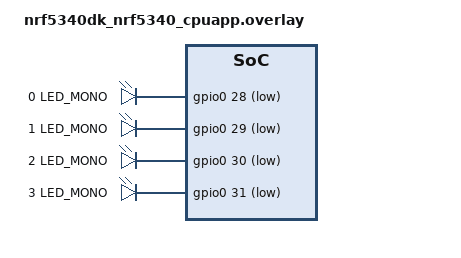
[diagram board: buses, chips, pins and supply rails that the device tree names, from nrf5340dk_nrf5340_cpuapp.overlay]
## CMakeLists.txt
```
# SPDX-License-Identifier: Apache-2.0

cmake_minimum_required(VERSION 3.20.0)
find_package(Zephyr REQUIRED HINTS $ENV{ZEPHYR_BASE})
project(peripheral)

target_sources(app PRIVATE
  src/main.c
  src/led.c
)

list(APPEND CMAKE_MODULE_PATH ${ZEPHYR_BASE}/modules/nanopb)
include(nanopb)

zephyr_nanopb_sources(app 
  proto/led/led.proto
)
```

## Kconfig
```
rsource "Kconfig.defaults"
rsource "src/Kconfig"

source "Kconfig.zephyr"
```

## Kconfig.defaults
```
config REBOOT
	default y

config MAIN_THREAD_PRIORITY
	default 10

config MAIN_STACK_SIZE
	default 1800 if SD_CARD_PLAYBACK
	default 1600

config SYSTEM_WORKQUEUE_STACK_SIZE
	default 1200

# As long as thread names are used, config must be set to "y"
config THREAD_NAME
	default y

config NCS_INCLUDE_RPMSG_CHILD_IMAGE
	default !BT_LL_ACS_NRF53

# Workaround to not use fatal_error.c in NCS. Note that the system may still
# reset on error depending on the build configuraion
config RESET_ON_FATAL_ERROR
	default n

# Default Config for Debug and Release build
config BT
	default y

# config BOARD_ENABLE_DCDC_APP
# 	default y

# config BOARD_ENABLE_DCDC_NET
# 	default y

config BOARD_ENABLE_CPUNET
	default y

config ZBUS
	default y

config ZBUS_RUNTIME_OBSERVERS
	default y

config ZBUS_MSG_SUBSCRIBER
	default y

config SENSOR
	default y

config REGULATOR
	default y

config CONTIN_ARRAY
	default y

# config NRFX_I2S0
# 	default y

# config PCM_MIX
# 	default y

# config PSCM
# 	default y

# config DATA_FIFO
# 	default y

# config WATCHDOG
# 	default y

# config TASK_WDT
# 	default y
```

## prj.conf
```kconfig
# Increased stack due to settings API usage

# General
CONFIG_DEBUG=y
CONFIG_DEBUG_INFO=y
CONFIG_ASSERT=y
CONFIG_STACK_USAGE=y
CONFIG_THREAD_RUNTIME_STATS=y
CONFIG_STACK_SENTINEL=y
CONFIG_INIT_STACKS=y

# Uart driver
CONFIG_SERIAL=y

# Logging
CONFIG_LOG=y
CONFIG_NEWLIB_LIBC_FLOAT_PRINTF=y
CONFIG_LOG_TAG_MAX_LEN=2
CONFIG_LOG_TAG_DEFAULT="--"
CONFIG_LOG_BACKEND_UART=y

# Shell related defines
CONFIG_USE_SEGGER_RTT=y

# Console related defines
CONFIG_CONSOLE=y
CONFIG_RTT_CONSOLE=y
CONFIG_UART_CONSOLE=y

# Shell related defines
CONFIG_SHELL=y
CONFIG_KERNEL_SHELL=y
CONFIG_USE_SEGGER_RTT=y
## Disable logs on RTT
CONFIG_SHELL_RTT_INIT_LOG_LEVEL_NONE=y
CONFIG_SHELL_BACKEND_RTT=y
CONFIG_SHELL_BACKEND_SERIAL=n
CONFIG_SHELL_VT100_COMMANDS=y
CONFIG_SHELL_VT100_COLORS=y
CONFIG_SHELL_STACK_SIZE=4096
CONFIG_SHELL_CMD_BUFF_SIZE=128
## Reduce shell memory usage
CONFIG_SHELL_WILDCARD=n
CONFIG_SHELL_HELP_ON_WRONG_ARGUMENT_COUNT=n
CONFIG_SHELL_STATS=n
CONFIG_SHELL_CMDS=n
CONFIG_SHELL_HISTORY=y

# Turn off default shell commands
CONFIG_I2C_SHELL=n
CONFIG_HWINFO_SHELL=n
CONFIG_CLOCK_CONTROL_NRF_SHELL=n
CONFIG_FLASH_SHELL=n
CONFIG_DEVICE_SHELL=n

CONFIG_BT=y
CONFIG_BT_PERIPHERAL=y

CONFIG_BT_DEVICE_NAME="SMART LED DEMO"

CONFIG_NANOPB=y
```

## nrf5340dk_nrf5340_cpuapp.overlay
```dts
/ {
	leds: leds {
		compatible = "gpio-leds";
		led0: led_0 {
			gpios = <&gpio0 28 GPIO_ACTIVE_LOW>;
			label = "0 LED_MONO";
		};
		led1: led_1 {
			gpios = <&gpio0 29 GPIO_ACTIVE_LOW>;
			label = "1 LED_MONO";
		};
		led2: led_2 {
			gpios = <&gpio0 30 GPIO_ACTIVE_LOW>;
			label = "2 LED_MONO";
		};
		led3: led_3 {
			gpios = <&gpio0 31 GPIO_ACTIVE_LOW>;
			label = "3 LED_MONO";
		};
	};
};
```

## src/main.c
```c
#include <zephyr/bluetooth/bluetooth.h>
#include <zephyr/bluetooth/gatt.h>
#include <zephyr/bluetooth/uuid.h>
#include <zephyr/drivers/gpio.h>
#include <zephyr/logging/log.h>

#include "led.h"

LOG_MODULE_REGISTER(main, CONFIG_MAIN_LOG_LEVEL);

// Advertisement Data

static const struct bt_data ad[] = {
    BT_DATA_BYTES(BT_DATA_FLAGS, (BT_LE_AD_GENERAL | BT_LE_AD_NO_BREDR)),
    BT_DATA_BYTES(BT_DATA_UUID128_ALL, LED_SERVICE_UUID_VAL),
};

// GAP callbacks

static void connected(struct bt_conn *conn, uint8_t err) {
  if (err) {
    LOG_ERR("Connection failed (err 0x%02x)\n", err);
  } else {
    LOG_INF("Connected\n");
  }
}

static void disconnected(struct bt_conn *conn, uint8_t reason) {
  LOG_INF("Disconnected (reason 0x%02x)\n", reason);
}

BT_CONN_CB_DEFINE(conn_callbacks) = {
    .connected = connected,
    .disconnected = disconnected,
};

int main(void) {
  int err;

  LOG_INF("Starting LED application");

  // make sure the LED device is ready
	err = led_init();
  if (err) {
		LOG_ERR("LED init failed (err %d)\n", err);
		return err;
	}

  // initialize BLE
  err = bt_enable(NULL);
  if (err) {
    LOG_ERR("Bluetooth init failed (err %d)\n", err);
    return err;
  }
  LOG_INF("Bluetooth initialized\n");

  // start avertising
  err = bt_le_adv_start(BT_LE_ADV_CONN_NAME, ad, ARRAY_SIZE(ad), NULL, 0);
  if (err) {
    LOG_ERR("Advertising failed to start (err %d)\n", err);
    return err;
  }
  LOG_INF("Advertising successfully started\n");
	return 0;
}
```

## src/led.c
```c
#include <zephyr/kernel.h>
#include <zephyr/devicetree.h>
#include <zephyr/bluetooth/bluetooth.h>
#include <zephyr/bluetooth/gatt.h>
#include <zephyr/bluetooth/uuid.h>
#include <zephyr/drivers/gpio.h>
#include <string.h>
#include <stdlib.h>
#include <zephyr/device.h>

#include "led.h"
#include <pb_encode.h>
#include <pb_decode.h>
#include "proto/led/led.pb.h"

#include <zephyr/logging/log.h>
LOG_MODULE_REGISTER(led, CONFIG_MODULE_LED_LOG_LEVEL);

#define BLINK_FREQ_MS					1000
#define LED_UNIT_MAX					10
#define NUM_COLORS_RGB				3
#define BASE_10								10
#define DT_LABEL_AND_COMMA(node_id)	    DT_PROP(node_id, label),
#define GPIO_DT_SPEC_GET_AND_COMMA(node_id) GPIO_DT_SPEC_GET(node_id, gpios),

/* The following arrays are populated compile time from the .dts*/
static const char *const led_labels[] = {DT_FOREACH_CHILD(DT_PATH(leds), DT_LABEL_AND_COMMA)};

static const struct gpio_dt_spec leds[] = {DT_FOREACH_CHILD(DT_PATH(leds), GPIO_DT_SPEC_GET_AND_COMMA)};

enum led_type {
	LED_MONOCHROME,
	LED_COLOR,
};

struct user_config {
	LedStateType state;
	LedColorType color;
};

struct led_unit_cfg {
	uint8_t led_no;
	enum led_type unit_type;
	union {
		const struct gpio_dt_spec *mono;
		const struct gpio_dt_spec *color[NUM_COLORS_RGB];
	} type;
	struct user_config user_cfg;
};

static uint8_t leds_num;
static bool initialized;
static struct led_unit_cfg led_units[LED_UNIT_MAX];

// Service and Characteristics UUIDs
static struct bt_uuid_128 get_led_char_uuid = BT_UUID_INIT_128(
    BT_UUID_128_ENCODE(0x9c85a726, 0xb7f1, 0x11ec, 0xb909, 0x0242ac120002));
static struct bt_uuid_128 put_led_char_uuid = BT_UUID_INIT_128(
    BT_UUID_128_ENCODE(0x9c85a726, 0xb7f1, 0x11ec, 0xb909, 0x0242ac120003));

static struct bt_uuid_128 led_svc_uuid = BT_UUID_INIT_128(LED_SERVICE_UUID_VAL);

/**
 * @brief Configures fields for a RGB LED
 */
static int configure_led_color(uint8_t led_unit, uint8_t led_color, uint8_t led)
{
	if (!device_is_ready(leds[led].port)) {
		LOG_ERR("LED GPIO controller not ready");
		return -ENODEV;
	}

	led_units[led_unit].type.color[led_color] = &leds[led];
	led_units[led_unit].unit_type = LED_COLOR;

	return gpio_pin_configure_dt(led_units[led_unit].type.color[led_color],
				     GPIO_OUTPUT_INACTIVE);
}

/**
 * @brief Configures fields for a monochrome LED
 */
static int config_led_monochrome(uint8_t led_unit, uint8_t led)
{
	if (!device_is_ready(leds[led].port)) {
		LOG_ERR("LED GPIO controller not ready");
		return -ENODEV;
	}

	led_units[led_unit].type.mono = &leds[led];
	led_units[led_unit].unit_type = LED_MONOCHROME;

	return gpio_pin_configure_dt(led_units[led_unit].type.mono, GPIO_OUTPUT_INACTIVE);
}

/**
 * @brief Parses the device tree for LED settings.
 */
static int led_device_tree_parse(void)
{
	int ret;

	for (uint8_t i = 0; i < leds_num; i++) {
		char *end_ptr = NULL;
		uint32_t led_unit = strtoul(led_labels[i], &end_ptr, BASE_10);

		if (led_labels[i] == end_ptr) {
			LOG_ERR("No match for led unit. The dts is likely not properly formatted");
			return -ENXIO;
		}

		if (strstr(led_labels[i], "LED_RGB_RED")) {
			ret = configure_led_color(led_unit, RED, i);
			if (ret) {
				return ret;
			}

		} else if (strstr(led_labels[i], "LED_RGB_GREEN")) {
			ret = configure_led_color(led_unit, GREEN, i);
			if (ret) {
				return ret;
			}

		} else if (strstr(led_labels[i], "LED_RGB_BLUE")) {
			ret = configure_led_color(led_unit, BLUE, i);
			if (ret) {
				return ret;
			}

		} else if (strstr(led_labels[i], "LED_MONO")) {
			ret = config_led_monochrome(led_unit, i);
			if (ret) {
				return ret;
			}
		} else {
			LOG_ERR("No color identifier for LED %d LED unit %d", i, led_unit);
			return -ENODEV;
		}
	}
	return 0;
}

/**
 * @brief Internal handling to set the status of a led unit
 */
static int led_set_int(uint8_t led_unit, LedColorType color)
{
	int ret;

	if (led_units[led_unit].unit_type == LED_MONOCHROME) {
		if (color) {
			ret = gpio_pin_set_dt(led_units[led_unit].type.mono, 1);
			if (ret) {
				return ret;
			}
		} else {
			ret = gpio_pin_set_dt(led_units[led_unit].type.mono, 0);
			if (ret) {
				return ret;
			}
		}
	} else {
		for (uint8_t i = 0; i < NUM_COLORS_RGB; i++) {
			if (color & BIT(i)) {
				ret = gpio_pin_set_dt(led_units[led_unit].type.color[i], 1);
				if (ret) {
					return ret;
				}
			} else {
				ret = gpio_pin_set_dt(led_units[led_unit].type.color[i], 0);
				if (ret) {
					return ret;
				}
			}
		}
	}

	return 0;
}

static void led_blink_work_handler(struct k_work *work);

K_WORK_DEFINE(led_blink_work, led_blink_work_handler);

/**
 * @brief Submit a k_work on timer expiry.
 */
void led_blink_timer_handler(struct k_timer *dummy)
{
	k_work_submit(&led_blink_work);
}

K_TIMER_DEFINE(led_blink_timer, led_blink_timer_handler, NULL);

/**
 * @brief Periodically invoked by the timer to blink LEDs.
 */
static void led_blink_work_handler(struct k_work *work)
{
	int ret;
	static bool on_phase;

	for (uint8_t i = 0; i < leds_num; i++) {
		if (led_units[i].user_cfg.state == LedStateType_LED_STATE_TYPE_BLINK) {
			if (on_phase) {
				ret = led_set_int(i, led_units[i].user_cfg.color);
				if (ret) {
					LOG_ERR("LED set error: %d", ret);
				}
			} else {
				ret = led_set_int(i, LedStateType_LED_STATE_TYPE_OFF);
				if (ret) {
					LOG_ERR("LED set error: %d", ret);
				}
			}
		}
	}

	on_phase = !on_phase;
}

static int led_set(uint8_t led_unit, LedColorType color, LedStateType state)
{
	int ret;

	if (!initialized) {
		return -EPERM;
	}

	ret = led_set_int(led_unit, color);
	if (ret) {
		return ret;
	}

	led_units[led_unit].user_cfg.state = state;
	led_units[led_unit].user_cfg.color = color;

	return 0;
}

int led_on(uint8_t led_unit, ...)
{
	if (led_units[led_unit].unit_type == LED_MONOCHROME) {
		return led_set(led_unit, LedColorType_LED_COLOR_WHITE, LedStateType_LED_STATE_TYPE_SOLID);
	}

	va_list args;

	va_start(args, led_unit);
	int color = va_arg(args, int);

	va_end(args);

	if (color <= 0 || color >= _LedColorType_ARRAYSIZE) {
		LOG_ERR("Invalid color code %d", color);
		return -EINVAL;
	}
	return led_set(led_unit, color, LedStateType_LED_STATE_TYPE_SOLID);
}

int led_blink(uint8_t led_unit, ...)
{
	if (led_units[led_unit].unit_type == LED_MONOCHROME) {
		return led_set(led_unit, LedColorType_LED_COLOR_WHITE, LedStateType_LED_STATE_TYPE_BLINK);
	}

	va_list args;

	va_start(args, led_unit);

	int color = va_arg(args, int);

	va_end(args);

	if (color <= 0 || color >= _LedColorType_ARRAYSIZE) {
		LOG_ERR("Invalid color code %d", color);
		return -EINVAL;
	}

	return led_set(led_unit, color, LedStateType_LED_STATE_TYPE_BLINK);
}

int led_off(uint8_t led_unit)
{
	return led_set(led_unit, LedColorType_LED_COLOR_OFF, LedStateType_LED_STATE_TYPE_SOLID);
}

static ssize_t read_get_led(struct bt_conn *conn,
                              const struct bt_gatt_attr *attr, void *buf,
                              uint16_t len, uint16_t offset) {
	return BT_GATT_ERR(BT_ATT_ERR_NOT_SUPPORTED);
}

static ssize_t write_get_led(struct bt_conn *conn,
                               const struct bt_gatt_attr *attr, const void *buf,
                               uint16_t len, uint16_t offset, uint8_t flags) {
	GetLedRequest request = GetLedRequest_init_zero;
	pb_istream_t stream = pb_istream_from_buffer(buf, len);

	if (!pb_decode(&stream, GetLedRequest_fields, &request)) {
		LOG_ERR("Failed to decode GetLedRequest");
		return BT_GATT_ERR(BT_ATT_ERR_INVALID_ATTRIBUTE_LEN);
	}

	// Prepare the GetLedResponse
	uint32_t led_id = request.led_id;
	GetLedResponse response = GetLedResponse_init_zero;
	response.led_id = led_id;
	response.led_control.led_state_type = led_units[led_id].user_cfg.state;
	response.led_control.led_color_type = led_units[led_id].user_cfg.color;

	// Send the response back to the central
	uint8_t responseData[GetLedResponse_size];
	pb_ostream_t ostream = pb_ostream_from_buffer(responseData, sizeof(responseData));
	
	if (!pb_encode(&ostream, GetLedResponse_fields, &response)) {
		LOG_ERR("Failed to encode GetLedResponse");
		return BT_GATT_ERR(BT_ATT_ERR_INVALID_ATTRIBUTE_LEN);
	}

	bt_gatt_notify(conn, attr, responseData, ostream.bytes_written);
  return len;
}

static ssize_t read_put_led(struct bt_conn *conn,
                              const struct bt_gatt_attr *attr, void *buf,
                              uint16_t len, uint16_t offset) {
  return BT_GATT_ERR(BT_ATT_ERR_NOT_SUPPORTED);
}

static ssize_t write_put_led(struct bt_conn *conn,
                               const struct bt_gatt_attr *attr, const void *buf,
                               uint16_t len, uint16_t offset, uint8_t flags) {
	PutLedRequest request = PutLedRequest_init_zero;
	pb_istream_t stream = pb_istream_from_buffer(buf, len);

	if (!pb_decode(&stream, PutLedRequest_fields, &request)) {
		LOG_ERR("Failed to decode PutLedRequest");
		return BT_GATT_ERR(BT_ATT_ERR_INVALID_ATTRIBUTE_LEN);
	}

	uint32_t led_id = request.led_id;
	if (led_id < leds_num) {
		switch (request.led_control.led_state_type) {
			case LedStateType_LED_STATE_TYPE_BLINK:
				if (led_units[led_id].led_no == LedColorType_LED_COLOR_OFF) {
					led_blink(led_id);
				} else {
					led_blink(led_id, request.led_control.led_color_type);
				}
				break;
			case LedStateType_LED_STATE_TYPE_SOLID:
				if (led_units[led_id].led_no == LedColorType_LED_COLOR_OFF) {
					led_on(led_id);
				} else {
					led_on(led_id, request.led_control.led_color_type);
				}
				break;
			case LedStateType_LED_STATE_TYPE_OFF:
				led_off(led_id);
				break;
		}
	} else {
		LOG_ERR("Invalid LED ID: %d\n", (int)request.led_id);
	}

	// Prepare the PutLedResponse
	PutLedResponse response = PutLedResponse_init_zero;
	response.led_id = led_id;
	response.led_control.led_state_type = led_units[led_id].user_cfg.state;
	response.led_control.led_color_type = led_units[led_id].user_cfg.color;

	// Send the response back to the central
	uint8_t responseData[PutLedResponse_size];
	pb_ostream_t ostream = pb_ostream_from_buffer(responseData, sizeof(responseData));
	
	if (!pb_encode(&ostream, PutLedResponse_fields, &response)) {
		LOG_ERR("Failed to encode PutLedResponse");
		return BT_GATT_ERR(BT_ATT_ERR_INVALID_ATTRIBUTE_LEN);
	}

	bt_gatt_notify(conn, attr, responseData, ostream.bytes_written);
  return len;
}

static void ccc_cfg_changed(const struct bt_gatt_attr *attr, uint16_t value) {
    bool notifications_enabled = (value == BT_GATT_CCC_NOTIFY);
    if (notifications_enabled) {
        LOG_INF("Notifications enabled");
    } else {
        LOG_INF("Notifications disabled");
    }
}

/**
 * @brief GATT service definition
 */
BT_GATT_SERVICE_DEFINE(
    led_svc, BT_GATT_PRIMARY_SERVICE(&led_svc_uuid),
    BT_GATT_CHARACTERISTIC(&get_led_char_uuid.uuid,
                           BT_GATT_CHRC_READ | BT_GATT_CHRC_WRITE | BT_GATT_CHRC_NOTIFY,
                           BT_GATT_PERM_READ | BT_GATT_PERM_WRITE,
                           NULL, write_get_led, NULL),
		BT_GATT_CCC(ccc_cfg_changed, BT_GATT_PERM_READ | BT_GATT_PERM_WRITE),
    BT_GATT_CHARACTERISTIC(&put_led_char_uuid.uuid,
                           BT_GATT_CHRC_READ | BT_GATT_CHRC_WRITE | BT_GATT_CHRC_NOTIFY,
                           BT_GATT_PERM_READ | BT_GATT_PERM_WRITE,
                           NULL, write_put_led, NULL), 
		BT_GATT_CCC(ccc_cfg_changed, BT_GATT_PERM_READ | BT_GATT_PERM_WRITE),);

int led_init(void)
{
	int ret;

	if (initialized) {
		return -EPERM;
	}

	__ASSERT(ARRAY_SIZE(leds) != 0, "No LEDs found in dts");

	leds_num = ARRAY_SIZE(leds);

	ret = led_device_tree_parse();
	if (ret) {
		return ret;
	}

	k_timer_start(&led_blink_timer, K_MSEC(BLINK_FREQ_MS / 2), K_MSEC(BLINK_FREQ_MS / 2));
	initialized = true;
	return 0;
}
```

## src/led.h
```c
#ifndef _LED_H_
#define _LED_H_

#include <stdint.h>

#define LED_APP_1 0
#define LED_APP_2 1
#define LED_APP_3 2
#define LED_APP_4 3

// RGB of LED
#define RED 0
#define GREEN 1
#define BLUE 2

#define LED_SERVICE_UUID_VAL BT_UUID_128_ENCODE(0xf7547938, 0x68ba, 0x11ec, 0x90d6, 0x0242ac120003)

/**
 * @brief Set the state of a given LED unit to blink.
 *
 * @note A led unit is defined as an RGB LED or a monochrome LED.
 *
 * @param led_unit	Selected LED unit. Defines are located in board.h
 * @note		If the given LED unit is an RGB LED, color must be
 *			provided as a single vararg. See led_color.
 *			For monochrome LEDs, the vararg will be ignored.
 *			Using a LED unit assigned to another core will do nothing and return 0.
 * @return		0 on success
 *			-EPERM if the module has not been initialised
 *			-EINVAL if the color argument is illegal
 *			Other errors from underlying drivers.
 */
int led_blink(uint8_t led_unit, ...);

/**
 * @brief Turn the given LED unit on.
 *
 * @note A led unit is defined as an RGB LED or a monochrome LED.
 *
 * @param led_unit	Selected LED unit. Defines are located in board.h
 * @note		If the given LED unit is an RGB LED, color must be
 *			provided as a single vararg. See led_color.
 *			For monochrome LEDs, the vararg will be ignored.
*			Using a LED unit assigned to another core will do nothing and return 0.
 * @return		0 on success
 *			-EPERM if the module has not been initialised
 *			-EINVAL if the color argument is illegal
 *			Other errors from underlying drivers.
 */
int led_on(uint8_t led_unit, ...);

/**
 * @brief Set the state of a given LED unit to off.
 *
 * @note A led unit is defined as an RGB LED or a monochrome LED.
 *		Using a LED unit assigned to another core will do nothing and return 0.
 *
 * @param led_unit	Selected LED unit. Defines are located in board.h
 * @return		0 on success
 *			-EPERM if the module has not been initialised
 *			-EINVAL if the color argument is illegal
 *			Other errors from underlying drivers.
 */
int led_off(uint8_t led_unit);

/**
 * @brief Initialise the LED module
 *
 * @note This will parse the .dts files and configure all LEDs.
 *
 * @return	0 on success
 *		-EPERM if already initialsed
 *		-ENXIO if a LED is missing unit number in dts
 *		-ENODEV if a LED is missing color identifier
 */
int led_init(void);

#endif /* _LED_H_ */
```
